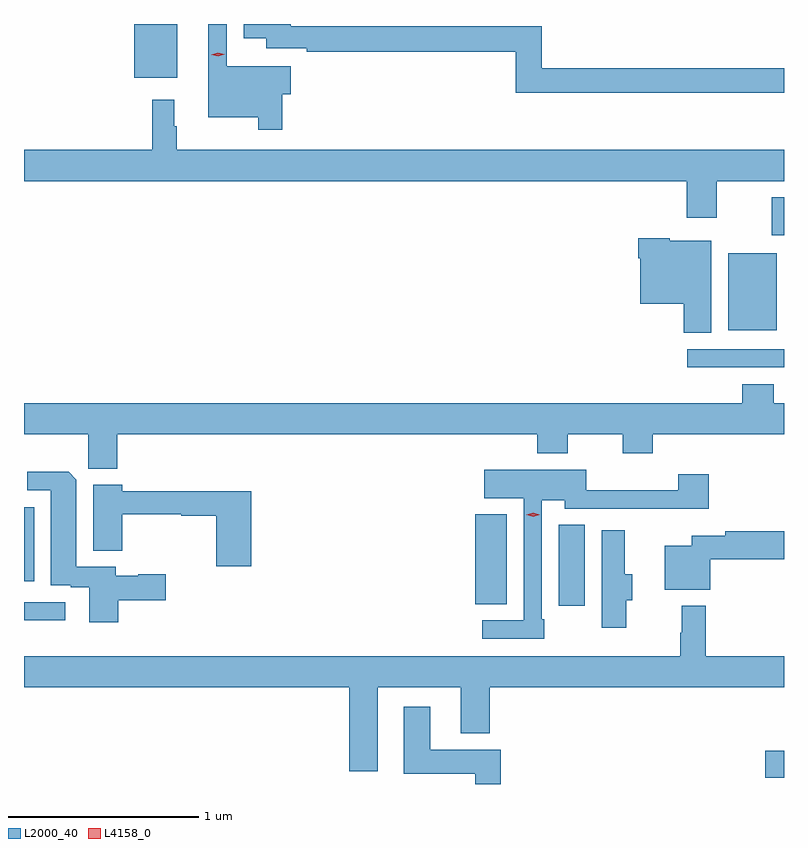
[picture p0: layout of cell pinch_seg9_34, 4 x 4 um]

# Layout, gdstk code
import gdstk
lib = gdstk.Library(unit=1e-6, precision=1e-09)
def R(c, l, rs):  # rectangles x0, y0, x1, y1
    for r in rs: c.add(gdstk.rectangle(r[:2], r[2:], *l))
def P(c, l, *ps):  # polygons
    for p in ps: c.add(gdstk.Polygon(p, *l))
L2000_40 = (2000, 40)
L4158_0 = (4158, 0)

pinch_seg9_34 = lib.new_cell('pinch_seg9_34')
R(pinch_seg9_34, L2000_40, [(914.808,1214.591,914.906,1214.733), (910.906,1215.42,911.122,1215.516), (913.721,1215.498,913.858,1215.923), (913.28,1215.505,913.447,1215.979), (910.906,1215.626,910.96,1216.015), (914.397,1216.752,914.906,1216.848), (914.612,1216.946,914.869,1217.353), (914.842,1217.448,914.906,1217.647), (911.486,1218.275,911.713,1218.559)])
P(pinch_seg9_34, L2000_40, [(912.266,1218.19),(912.31,1218.19),(912.31,1218.337),(911.973,1218.337),(911.973,1218.559),(911.876,1218.559),(911.876,1218.068),(912.138,1218.068),(912.138,1218.003),(912.266,1218.003)],
  [(914.906,1218.326),(913.631,1218.326),(913.631,1218.548),(912.311,1218.548),(912.311,1218.559),(912.062,1218.559),(912.062,1218.485),(912.182,1218.485),(912.182,1218.432),(912.394,1218.432),(912.394,1218.412),(913.495,1218.412),(913.495,1218.198),(914.906,1218.198)],
  [(914.553,1217.732),(914.906,1217.732),(914.906,1217.896),(911.71,1217.896),(911.71,1218.02),(911.698,1218.02),(911.698,1218.16),(911.581,1218.16),(911.581,1217.896),(910.906,1217.896),(910.906,1217.732),(914.393,1217.732),(914.393,1217.538),(914.553,1217.538)],
  [(914.524,1217.419),(914.304,1217.419),(914.304,1217.431),(914.138,1217.431),(914.138,1217.327),(914.15,1217.327),(914.15,1217.087),(914.378,1217.087),(914.378,1216.933),(914.524,1216.933)],
  [(914.906,1216.564),(914.852,1216.564),(914.852,1216.663),(914.687,1216.663),(914.687,1216.564),(910.906,1216.564),(910.906,1216.4),(911.245,1216.4),(911.245,1216.219),(911.396,1216.219),(911.396,1216.4),(913.607,1216.4),(913.607,1216.301),(913.767,1216.301),(913.767,1216.4),(914.056,1216.4),(914.056,1216.301),(914.216,1216.301),(914.216,1216.4),(914.906,1216.4)],
  [(913.645,1215.427),(913.632,1215.427),(913.632,1216.052),(913.751,1216.052),(913.751,1216.008),(914.261,1216.008),(914.261,1216.007),(914.51,1216.007),(914.51,1216.189),(914.35,1216.189),(914.35,1216.106),(913.864,1216.106),(913.864,1216.213),(913.329,1216.213),(913.329,1216.064),(913.536,1216.064),(913.536,1215.42),(913.317,1215.42),(913.317,1215.324),(913.645,1215.324)],
  [(911.402,1215.526),(911.653,1215.526),(911.653,1215.663),(911.506,1215.663),(911.506,1215.655),(911.389,1215.655),(911.389,1215.702),(911.182,1215.702),(911.182,1216.16),(911.141,1216.202),(910.923,1216.202),(910.923,1216.104),(911.048,1216.104),(911.048,1215.606),(911.153,1215.606),(911.153,1215.594),(911.249,1215.594),(911.249,1215.411),(911.402,1215.411)],
  [(912.101,1216.099),(911.423,1216.099),(911.423,1216.134),(911.27,1216.134),(911.27,1215.787),(911.423,1215.787),(911.423,1215.978),(911.734,1215.978),(911.734,1215.97),(911.918,1215.97),(911.918,1215.705),(912.101,1215.705)],
  [(914.076,1215.526),(914.107,1215.526),(914.107,1215.663),(914.068,1215.663),(914.068,1215.895),(913.946,1215.895),(913.946,1215.381),(914.076,1215.381)],
  [(914.517,1215.743),(914.906,1215.743),(914.906,1215.89),(914.598,1215.89),(914.598,1215.865),(914.421,1215.865),(914.421,1215.814),(914.279,1215.814),(914.279,1215.581),(914.517,1215.581)],
  [(912.769,1215.068),(913.205,1215.068),(913.205,1214.825),(913.358,1214.825),(913.358,1215.068),(914.906,1215.068),(914.906,1215.232),(914.495,1215.232),(914.495,1215.496),(914.367,1215.496),(914.367,1215.356),(914.359,1215.356),(914.359,1215.232),(910.906,1215.232),(910.906,1215.068),(912.617,1215.068),(912.617,1214.627),(912.769,1214.627)],
  [(913.415,1214.74),(913.045,1214.74),(913.045,1214.965),(912.905,1214.965),(912.905,1214.612),(913.28,1214.612),(913.28,1214.559),(913.415,1214.559)])
P(pinch_seg9_34, L4158_0, [(913.585,1215.966),(913.55,1215.976),(913.55,1215.976),(913.55,1215.976),(913.585,1215.986),(913.62,1215.976),(913.62,1215.976),(913.62,1215.976)],
  [(911.928,1218.388),(911.892,1218.396),(911.892,1218.396),(911.892,1218.396),(911.927,1218.408),(911.963,1218.4),(911.963,1218.4),(911.963,1218.4)])

lib.write_gds('pinch_seg9_34.gds')
